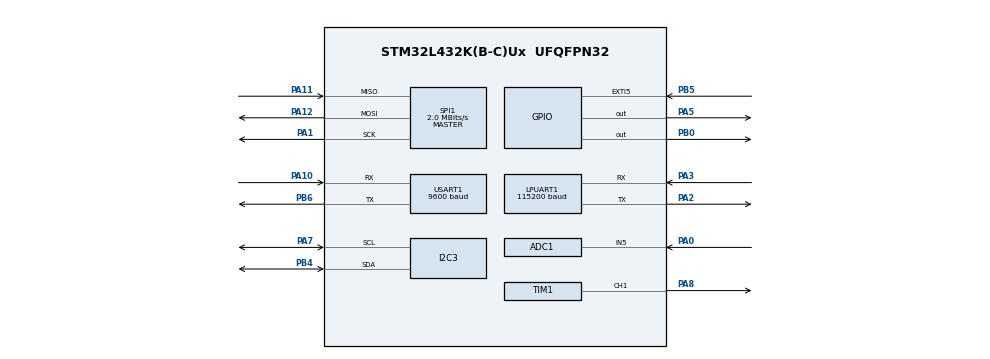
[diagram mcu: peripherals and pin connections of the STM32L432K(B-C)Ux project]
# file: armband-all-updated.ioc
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ADC1.Channel-1\#ChannelRegularConversion=ADC_CHANNEL_5
ADC1.NbrOfConversionFlag=1
ADC1.OffsetNumber-1\#ChannelRegularConversion=ADC_OFFSET_NONE
ADC1.Rank-1\#ChannelRegularConversion=1
ADC1.SamplingTime-1\#ChannelRegularConversion=ADC_SAMPLETIME_2CYCLES_5
ADC1.master=1
LPUART1.BaudRate=115200
LPUART1.WordLength=UART_WORDLENGTH_8B
Mcu.Family=STM32L4
Mcu.Name=STM32L432K(B-C)Ux
Mcu.Package=UFQFPN32
NVIC.EXTI9_5_IRQn=true\:1\:0\:true\:false\:true\:true\:true\:true
NVIC.PriorityGroup=NVIC_PRIORITYGROUP_4
NVIC.TIM6_DAC_IRQn=true\:1\:0\:true\:false\:true\:true\:true\:true
NVIC.TIM7_IRQn=true\:1\:0\:true\:false\:true\:true\:true\:true
NVIC.USART1_IRQn=true\:0\:0\:false\:false\:true\:true\:true\:true
PA0.Signal=ADCx_IN5
PA1.Mode=Full_Duplex_Master
PA1.Signal=SPI1_SCK
PA10.Mode=Asynchronous
PA10.Signal=USART1_RX
PA11.Mode=Full_Duplex_Master
PA11.Signal=SPI1_MISO
PA12.Mode=Full_Duplex_Master
PA12.Signal=SPI1_MOSI
PA2.Mode=Asynchronous
PA2.Signal=LPUART1_TX
PA3.Mode=Asynchronous
PA3.Signal=LPUART1_RX
PA5.Signal=GPIO_Output
PA7.Mode=I2C
PA7.Signal=I2C3_SCL
PA8.Signal=S_TIM1_CH1
PB0.PinState=GPIO_PIN_SET
PB0.Signal=GPIO_Output
PB4\ (NJTRST).Mode=I2C
PB4\ (NJTRST).Signal=I2C3_SDA
PB5.Signal=GPXTI5
PB6.Mode=Asynchronous
PB6.Signal=USART1_TX
ProjectManager.HeapSize=0x200
ProjectManager.StackSize=0x400
ProjectManager.TargetToolchain=STM32CubeIDE
RCC.ADCFreq_Value=32000000
RCC.HSE_VALUE=8000000
RCC.HSI48_VALUE=48000000
RCC.HSI_VALUE=16000000
RCC.LSE_VALUE=32768
RCC.MSI_VALUE=4000000
RCC.PLLSAI1N=16
RCC.USBFreq_Value=32000000
RCC.VCOOutputFreq_Value=32000000
SH.ADCx_IN5.0=ADC1_IN5,IN5-Single-Ended
SH.S_TIM1_CH1.0=TIM1_CH1,PWM Generation1 CH1
SPI1.CalculateBaudRate=2.0 MBits/s
SPI1.DataSize=SPI_DATASIZE_8BIT
SPI1.Direction=SPI_DIRECTION_2LINES
SPI1.Mode=SPI_MODE_MASTER
SPI1.VirtualType=VM_MASTER
TIM1.Channel-PWM\ Generation1\ CH1=TIM_CHANNEL_1
TIM6.Period=499
TIM6.Prescaler=399
TIM7.Period=49999
TIM7.Prescaler=399
USART1.BaudRate=9600
USART1.VirtualMode-Asynchronous=VM_ASYNC
VP_TIM6_VS_ClockSourceINT.Mode=Enable_Timer
VP_TIM7_VS_ClockSourceINT.Mode=Enable_Timer
board=custom

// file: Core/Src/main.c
/* USER CODE BEGIN Header */
/**
  ******************************************************************************
  * @file           : main.c
  * @brief          : Main program body
  ******************************************************************************
  * @attention
  *
  * Copyright (c) 2024 STMicroelectronics.
  * All rights reserved.
  *
  * This software is licensed under terms that can be found in the LICENSE file
  * in the root directory of this software component.
  * If no LICENSE file comes with this software, it is provided AS-IS.
  *
  ******************************************************************************
  */

/**	TODO:
 * 	 - only poll gps because it is a time hog
 * 	 - get LoRa running
 */

/* USER CODE END Header */
#include "main.h"

/* USER CODE BEGIN Includes */
#include "gps.h"
#include "lora_sx1276.h"
#include "IMU.h"
#include "PulseSensor.h"
#include "stdio.h"
#include "speed.h"
#include "step_inc/StepCountingAlgo.h"
#include "vec.h"
#include "math.h"
#include "string.h"
#include "stdlib.h"

/* USER CODE END Includes */

/* USER CODE BEGIN PD */
#define ACC_BUF_LEN 1000
#define SPD_BUF_LEN 1000

#define STEP_FREQ 20	// Hz
#define STEP_PERIOD 50	// ms
/* USER CODE END PD */

ADC_HandleTypeDef hadc1;

I2C_HandleTypeDef hi2c3;

UART_HandleTypeDef hlpuart1;
UART_HandleTypeDef huart1;

SPI_HandleTypeDef hspi1;

TIM_HandleTypeDef htim1;
TIM_HandleTypeDef htim6;
TIM_HandleTypeDef htim7;

/* USER CODE BEGIN PV */

uint8_t LoRaRecieve = 0;
lora_sx1276 lora;
#define PI 3.14159265358979323846
//flags
static char gps_flag = 0;
static char vibrate_flag = 0;
static time_t prog_time = 0;
static GPS_t GPS2;
static  double p2p_dist = 0;
static  double velocity = 0;
static  double x_cord = 0;
static  double y_cord = 0;
static  uint8_t temp[7];
// vars --> most changed to non-static
//static int bpm = 0;
//static float vel;
//static float dist;
//static int steps;
//static double x, y, z;
//static vec_t acc_vec[ACC_BUF_LEN];
//static int acc_vec_idx = 0;
//static vec_t spd_vec[SPD_BUF_LEN];
//static int spd_vec_idx = 0;
static lora_data_t lora_data;

/* USER CODE END PV */

void SystemClock_Config(void);
static void MX_GPIO_Init(void);
static void MX_TIM6_Init(void);
static void MX_USART1_UART_Init(void);
static void MX_ADC1_Init(void);
static void MX_LPUART1_UART_Init(void);
static void MX_SPI1_Init(void);
static void MX_TIM1_Init(void);
static void MX_TIM7_Init(void);
static void MX_I2C3_Init(void);
/* USER CODE BEGIN PFP */
void HAL_TIM_PeriodElapsedCallback(TIM_HandleTypeDef* htim);
void IMUcallback(void);
static inline void vibratorCallback(void);
static inline void loraCallback(void);
//void transmit_data_lora(void);
/* USER CODE END PFP */

/* USER CODE BEGIN 0 */

/* lora initiation helper, executes up to 100 times */
uint8_t lora_infINIT(int init_ctr) {
	if (init_ctr < 100) {
		uint8_t res = lora_init(&lora, &hspi1, GPIOB, GPIO_PIN_0, LORA_BASE_FREQUENCY_US+FREQ_OFFSET);
		if (res != LORA_OK) {
			// Initialization failed
			// retry lol
			return lora_infINIT(init_ctr + 1);
	  	} else {
	  		return LORA_OK;
	  	}
	} else {
		return LORA_ERROR;
	}
}

/* called @ 200Hz, updates step count based on IMU data */
inline void IMUcallback(void) {
	/* archaic step count code from the times of masons own library */
//	vec_t acc_vec, gravity_vec;
//	lin_acc_vec(&hi2c3, &acc_vec.x);
//	grav_vec(&hi2c3, &gravity_vec.x);
//	input_step_data(gravity_vec, acc_vec);

	/* real good super awesome step count code! */
	vec_raw_t acc_vec;
	lin_acc_vec_raw(&hi2c3, &acc_vec.x);
	processSample(prog_time, acc_vec.x, acc_vec.y, acc_vec.z);
	prog_time += STEP_PERIOD;
//	num_steps = getSteps();
//	printf("steps: %i\n\r", num_steps);
}
          //IMU_infINIT(&hi2c3);
void IMU_infINIT(I2C_HandleTypeDef *hi2c) {
	int num_tries = 0;
	while (init_IMU(hi2c)) {
		//HAL_Delay(100);
		++num_tries;
		if (num_tries > 100) return;
	}
}

/* called every 5 seconds, checks lora recieve interrupt flag */
inline void vibratorCallback(void) {
	if (vibrate_flag) { //
		/* turn on vibrator */
		/// possibly add more to create a sequence
	}

}

/* loraCallback(): called after gps is read (5s period) to send relevant data */
inline void loraCallback(void) {

	/* NOTE */
	// possibly send 5 seconds late
	// before next* gps poll in order
	// to send at a precise times
	// --> 5 second delay should not have large effect

	lora_data.speed = (float)velocity;//get_velocity();	// speed from gps file
	lora_data.distance = (float)p2p_dist;//get_distance();	// distance from gps file
	lora_data.heart_rate = get_BPM();	// bpm from pulse sensor file
	lora_data.steps = getSteps();	// step count from steps file
	lora_send_packet(&lora, (uint8_t*)&lora_data, sizeof(lora_data));
	lora_mode_receive_single(&lora);

	/* debug code for use without lora */
	printf("sent to Base Station:\n\r");
	printf("\t\tspeed: \t%f m/s\n\r", lora_data.speed);
	printf("\tdistance: \t%f meters\n\r", lora_data.distance);
	printf("\t\tpulse: \t%i bpm\n\r", lora_data.heart_rate);
	printf("\t\tsteps: \t%i steps\n\n\r", lora_data.steps);
}

//static char gps_flag2 = 0;
/* timer checker */
void HAL_TIM_PeriodElapsedCallback(TIM_HandleTypeDef* htim){
	if (htim == &htim6) {
		IMUcallback();
		updatePulseSensor();
	} else if (htim == &htim7) {
		/* timer controlling GPS and LoRa data */
		gps_flag = 1;
		//gps_flag2 = 1;

		//HAL_NVIC_EnableIRQ(USART1_IRQn);
		//vibratorCallback();
	}
}
uint8_t a[10] = {0};
uint8_t buf[128] = {0};
int j = 0;
int done =0;
int go = 0;
int gps_ctr = 0;
void HAL_UART_RxCpltCallback(UART_HandleTypeDef *huart)
{

 	//UpdateGps_IT();
	//HAL_UART_Receive_IT(&huart1, &rx_data, 1);

	if (go){
		buf[j++] = a[0];
		if (a[0] == '\n'){
			buf[j++] = a[0];

			done = 1;
			go = 0;
			//printf("\n\r");
			if (j < 50) {
				j = 0;
				done = 0;
				for (int i = 0; i < 128; ++i){
					buf[i] = 0;
				}
				printf("bad gps data: retrying\n\r");
				if (gps_ctr < 12){
					HAL_UART_Receive_IT(&huart1, a, 1);
					gps_ctr++;
				}
				else {
					gps_ctr = 0;
					return;
				}

			}
			else{
				j = 0;
				return;
			}
		}

	}
	else if (a[0] == '$' && j == 0) {
		//printf("IN CALLBACK\n\r");
		buf[j++] = a[0];
		go = 1;

	}
	HAL_UART_Receive_IT(&huart1, a, 1);
}

/* USER CODE END 0 */

int main(void)
{

  /* MCU Configuration--------------------------------------------------------*/

  /* Reset of all peripherals, Initializes the Flash interface and the Systick. */
  HAL_Init();

  /* Configure the system clock */
  SystemClock_Config();
  HAL_Delay(1000);

  /* Initialize all configured peripherals */
  MX_GPIO_Init();
  MX_TIM6_Init();
  MX_USART1_UART_Init();
  MX_ADC1_Init();
  MX_LPUART1_UART_Init();
  MX_SPI1_Init();
  MX_TIM1_Init();
  MX_TIM7_Init();
  MX_I2C3_Init();
  /* USER CODE BEGIN 2 */
  printf("before init\r\n");

  initPulseSensor(&hadc1);
  IMU_infINIT(&hi2c3);
  printf("after imu init\r\n");
  uint8_t res = lora_infINIT(0);
  if (res != LORA_OK) {
	  // restart whole system idk
	  printf("bad lora ret\r\n");
  }
  initAlgo();

  printf("after init\r\n");

  //GPS INIT, just calls HAL_UART_Receive_IT(&huart1, &rx_data, 1) to start
    //GPS_Init();

  // start your engines!
  HAL_TIM_PWM_Start(&htim1, TIM_CHANNEL_1);
  HAL_TIM_Base_Start_IT(&htim6);
  HAL_TIM_Base_Start_IT(&htim7);

  /* USER CODE END 2 */

  /* Infinite loop */
  /* USER CODE BEGIN WHILE */
  uint8_t buzz = 0;
  // Wait at least 5 seconds before clearing buzzer
  uint8_t wait = 1;
  lora_enable_interrupt_rx_done(&lora);
  lora_mode_receive_single(&lora);

  while (1)
  {
	  if (gps_flag){

	  }
	  /* GPS Polling */
	  if (gps_flag) {
		  //updateGPS();

		  gps_flag = 0;
		  loraCallback(); // transmit lora data after GPS bottleneck finishes
		  HAL_UART_Receive_IT(&huart1, a, 1);
      if (buzz && !wait) {
		  	TIM1->CCR1 = 0;
        buzz = 0;
        wait = 1;
		  } else if (buzz) {
			  wait = 0;
		  }
    }

    /* poll lora receipt */
    if(LoRaRecieve == 1){
	  		  //Get data
	  //		  	  lora_mode_receive_continuous(&lora);

//	  		  	  lora_receive_packet_blocking(&lora, buffer, sizeof(buffer), 10000, &res);
      if (!lora_is_packet_available(&lora)) {
        LoRaRecieve = 0;
        buzz = 1;
        lora_mode_receive_single(&lora);
      }

	  }

    /* poll buzzer */
	  if (buzz) {
		  TIM1->CCR1 = 65534;
	  }

	  if (done){ //If gps buffer is full, is only possible every 5 seconds
		  done = 0;
		  for (int i = 0; i < 128; ++i){
			  printf("%c", buf[i]);
		  }
		  printf("\n");
		  for (int i = 0; i < 6; ++i){
			  temp[i] = buf[i];
		  }
		  temp[6] = '\0';

		  // If we have string we want, disable interrupt, do calc
		  if (!strncmp((char*)temp, "$GPGGA", 6)){
			  //printf("IN HERE\n\r");
			  char lat[9]; //latitude string
			  char lat_ns; //latitude north south
			  char lon[9]; //same as above bit longitude
			  char lon_ew;
			  char time[2];//only take the seconds

			  for (int i = 11; i < 13; ++i){
				  time[i-11] = buf[i];

			  }
			  for (int i = 18; i < 27; i++){
				  lat[i-18] = buf[i];
				  if (lat[i-18] == ',' || lat[i-18] == 'N'){
					  p2p_dist = 0;
					  velocity = 0;
				  }
			  }
			  lat_ns = buf[28];
			  for (int i = 30; i < 40; i++){
				  lon[i-30] = buf[i];
				  if (lon[i-30] == ',' || lon[i-30] == 'N'){
					  p2p_dist = 0;
					  velocity = 0;

				  }
			  }
			  lon_ew = buf[41];
			  for (int i = 0; i < 128; ++i){
				  buf[i] = 0;
			  }
			  GPS2.time_sec = strtof(time, NULL);
			  int d_time = abs(GPS2.time_sec-GPS2.prev_time_sec);
			  //printf("bruh %f\n\r", (double)strtof(lat, NULL));
			  //printf("bruh2 %f\n\r", (double)strtof(lon, NULL));
			  GPS2.dec_latitude = GPS_nmea_to_dec(strtof(lat, NULL), lat_ns)*(PI/180);
			  GPS2.dec_longitude = GPS_nmea_to_dec(strtof(lon, NULL), lon_ew)*(PI/180);

			  x_cord = (double)(GPS2.dec_longitude - GPS2.dec_longitude_prev)*
					  (cos(((double)GPS2.dec_latitude+(double)GPS2.dec_latitude_prev)/2));

			  y_cord = (double)(GPS2.dec_latitude - GPS2.dec_latitude_prev);

			  //printf("dec1 %f",x_cord);
			  //printf("dec2 %f",y_cord);
			  p2p_dist = sqrt(x_cord*x_cord + y_cord*y_cord)*6371000;
			  velocity = p2p_dist/ d_time;// m/s, timer is set for 5 sec
			  if (d_time == 0){
				  velocity = 0;
			  }
			  printf("p2p: %f\nmeter/sec: %f\n\r", p2p_dist,velocity);
			  //printf("Minute Per Mile: %f\n\r", .08333/(p2p_dist/1609.3));
			  GPS2.dec_latitude_prev = GPS2.dec_latitude;
			  GPS2.dec_longitude_prev = GPS2.dec_longitude;
			  GPS2.prev_time_sec = GPS2.time_sec;
			  //HAL_NVIC_DisableIRQ(USART1_IRQn);

		  }
		  else {
			  HAL_UART_Receive_IT(&huart1, a, 1);
		  }
		  for (int i = 0; i < 128; ++i){
			  buf[i] = 0;
		  }

	  }
    /* USER CODE END WHILE */

  }
}

void SystemClock_Config(void)
{
  RCC_OscInitTypeDef RCC_OscInitStruct = {0};
  RCC_ClkInitTypeDef RCC_ClkInitStruct = {0};

  /** Configure the main internal regulator output voltage
  */
  if (HAL_PWREx_ControlVoltageScaling(PWR_REGULATOR_VOLTAGE_SCALE1) != HAL_OK)
  {
    Error_Handler();
  }

  /** Initializes the RCC Oscillators according to the specified parameters
  * in the RCC_OscInitTypeDef structure.
  */
  RCC_OscInitStruct.OscillatorType = RCC_OSCILLATORTYPE_MSI;
  RCC_OscInitStruct.MSIState = RCC_MSI_ON;
  RCC_OscInitStruct.MSICalibrationValue = 0;
  RCC_OscInitStruct.MSIClockRange = RCC_MSIRANGE_6;
  RCC_OscInitStruct.PLL.PLLState = RCC_PLL_NONE;
  if (HAL_RCC_OscConfig(&RCC_OscInitStruct) != HAL_OK)
  {
    Error_Handler();
  }

  /** Initializes the CPU, AHB and APB buses clocks
  */
  RCC_ClkInitStruct.ClockType = RCC_CLOCKTYPE_HCLK|RCC_CLOCKTYPE_SYSCLK
                              |RCC_CLOCKTYPE_PCLK1|RCC_CLOCKTYPE_PCLK2;
  RCC_ClkInitStruct.SYSCLKSource = RCC_SYSCLKSOURCE_MSI;
  RCC_ClkInitStruct.AHBCLKDivider = RCC_SYSCLK_DIV1;
  RCC_ClkInitStruct.APB1CLKDivider = RCC_HCLK_DIV1;
  RCC_ClkInitStruct.APB2CLKDivider = RCC_HCLK_DIV1;

  if (HAL_RCC_ClockConfig(&RCC_ClkInitStruct, FLASH_LATENCY_0) != HAL_OK)
  {
    Error_Handler();
  }
}

static void MX_ADC1_Init(void)
{

  ADC_ChannelConfTypeDef sConfig = {0};

  /** Common config
  */
  hadc1.Instance = ADC1;
  hadc1.Init.ClockPrescaler = ADC_CLOCK_ASYNC_DIV1;
  hadc1.Init.Resolution = ADC_RESOLUTION_12B;
  hadc1.Init.DataAlign = ADC_DATAALIGN_RIGHT;
  hadc1.Init.ScanConvMode = ADC_SCAN_DISABLE;
  hadc1.Init.EOCSelection = ADC_EOC_SINGLE_CONV;
  hadc1.Init.LowPowerAutoWait = DISABLE;
  hadc1.Init.ContinuousConvMode = DISABLE;
  hadc1.Init.NbrOfConversion = 1;
  hadc1.Init.DiscontinuousConvMode = DISABLE;
  hadc1.Init.ExternalTrigConv = ADC_SOFTWARE_START;
  hadc1.Init.ExternalTrigConvEdge = ADC_EXTERNALTRIGCONVEDGE_NONE;
  hadc1.Init.DMAContinuousRequests = DISABLE;
  hadc1.Init.Overrun = ADC_OVR_DATA_PRESERVED;
  hadc1.Init.OversamplingMode = DISABLE;
  if (HAL_ADC_Init(&hadc1) != HAL_OK)
  {
    Error_Handler();
  }

  /** Configure Regular Channel
  */
  sConfig.Channel = ADC_CHANNEL_5;
  sConfig.Rank = ADC_REGULAR_RANK_1;
  sConfig.SamplingTime = ADC_SAMPLETIME_2CYCLES_5;
  sConfig.SingleDiff = ADC_SINGLE_ENDED;
  sConfig.OffsetNumber = ADC_OFFSET_NONE;
  sConfig.Offset = 0;
  if (HAL_ADC_ConfigChannel(&hadc1, &sConfig) != HAL_OK)
  {
    Error_Handler();
  }

}

static void MX_I2C3_Init(void)
{

  hi2c3.Instance = I2C3;
  hi2c3.Init.Timing = 0x00000E14;
  hi2c3.Init.OwnAddress1 = 0;
  hi2c3.Init.AddressingMode = I2C_ADDRESSINGMODE_7BIT;
  hi2c3.Init.DualAddressMode = I2C_DUALADDRESS_DISABLE;
  hi2c3.Init.OwnAddress2 = 0;
  hi2c3.Init.OwnAddress2Masks = I2C_OA2_NOMASK;
  hi2c3.Init.GeneralCallMode = I2C_GENERALCALL_DISABLE;
  hi2c3.Init.NoStretchMode = I2C_NOSTRETCH_DISABLE;
  if (HAL_I2C_Init(&hi2c3) != HAL_OK)
  {
    Error_Handler();
  }

  /** Configure Analogue filter
  */
  if (HAL_I2CEx_ConfigAnalogFilter(&hi2c3, I2C_ANALOGFILTER_ENABLE) != HAL_OK)
  {
    Error_Handler();
  }

  /** Configure Digital filter
  */
  if (HAL_I2CEx_ConfigDigitalFilter(&hi2c3, 0) != HAL_OK)
  {
    Error_Handler();
  }

}

static void MX_LPUART1_UART_Init(void)
{

  hlpuart1.Instance = LPUART1;
  hlpuart1.Init.BaudRate = 115200;
  hlpuart1.Init.WordLength = UART_WORDLENGTH_8B;
  hlpuart1.Init.StopBits = UART_STOPBITS_1;
  hlpuart1.Init.Parity = UART_PARITY_NONE;
  hlpuart1.Init.Mode = UART_MODE_TX_RX;
  hlpuart1.Init.HwFlowCtl = UART_HWCONTROL_NONE;
  hlpuart1.Init.OneBitSampling = UART_ONE_BIT_SAMPLE_DISABLE;
  hlpuart1.AdvancedInit.AdvFeatureInit = UART_ADVFEATURE_NO_INIT;
  if (HAL_UART_Init(&hlpuart1) != HAL_OK)
  {
    Error_Handler();
  }

}

static void MX_USART1_UART_Init(void)
{

  huart1.Instance = USART1;
  huart1.Init.BaudRate = 9600;
  huart1.Init.WordLength = UART_WORDLENGTH_8B;
  huart1.Init.StopBits = UART_STOPBITS_1;
  huart1.Init.Parity = UART_PARITY_NONE;
  huart1.Init.Mode = UART_MODE_TX_RX;
  huart1.Init.HwFlowCtl = UART_HWCONTROL_NONE;
  huart1.Init.OverSampling = UART_OVERSAMPLING_16;
  huart1.Init.OneBitSampling = UART_ONE_BIT_SAMPLE_DISABLE;
  huart1.AdvancedInit.AdvFeatureInit = UART_ADVFEATURE_NO_INIT;
  if (HAL_UART_Init(&huart1) != HAL_OK)
  {
    Error_Handler();
  }

}

static void MX_SPI1_Init(void)
{

  /* SPI1 parameter configuration*/
  hspi1.Instance = SPI1;
  hspi1.Init.Mode = SPI_MODE_MASTER;
  hspi1.Init.Direction = SPI_DIRECTION_2LINES;
  hspi1.Init.DataSize = SPI_DATASIZE_8BIT;
  hspi1.Init.CLKPolarity = SPI_POLARITY_LOW;
  hspi1.Init.CLKPhase = SPI_PHASE_1EDGE;
  hspi1.Init.NSS = SPI_NSS_SOFT;
  hspi1.Init.BaudRatePrescaler = SPI_BAUDRATEPRESCALER_2;
  hspi1.Init.FirstBit = SPI_FIRSTBIT_MSB;
  hspi1.Init.TIMode = SPI_TIMODE_DISABLE;
  hspi1.Init.CRCCalculation = SPI_CRCCALCULATION_DISABLE;
  hspi1.Init.CRCPolynomial = 7;
  hspi1.Init.CRCLength = SPI_CRC_LENGTH_DATASIZE;
  hspi1.Init.NSSPMode = SPI_NSS_PULSE_ENABLE;
  if (HAL_SPI_Init(&hspi1) != HAL_OK)
  {
    Error_Handler();
  }

}

static void MX_TIM1_Init(void)
{

  TIM_MasterConfigTypeDef sMasterConfig = {0};
  TIM_OC_InitTypeDef sConfigOC = {0};
  TIM_BreakDeadTimeConfigTypeDef sBreakDeadTimeConfig = {0};

  htim1.Instance = TIM1;
  htim1.Init.Prescaler = 0;
  htim1.Init.CounterMode = TIM_COUNTERMODE_UP;
  htim1.Init.Period = 65535;
  htim1.Init.ClockDivision = TIM_CLOCKDIVISION_DIV1;
  htim1.Init.RepetitionCounter = 0;
  htim1.Init.AutoReloadPreload = TIM_AUTORELOAD_PRELOAD_DISABLE;
  if (HAL_TIM_PWM_Init(&htim1) != HAL_OK)
  {
    Error_Handler();
  }
  sMasterConfig.MasterOutputTrigger = TIM_TRGO_RESET;
  sMasterConfig.MasterOutputTrigger2 = TIM_TRGO2_RESET;
  sMasterConfig.MasterSlaveMode = TIM_MASTERSLAVEMODE_DISABLE;
  if (HAL_TIMEx_MasterConfigSynchronization(&htim1, &sMasterConfig) != HAL_OK)
  {
    Error_Handler();
  }
  sConfigOC.OCMode = TIM_OCMODE_PWM1;
  sConfigOC.Pulse = 0;
  sConfigOC.OCPolarity = TIM_OCPOLARITY_HIGH;
  sConfigOC.OCNPolarity = TIM_OCNPOLARITY_HIGH;
  sConfigOC.OCFastMode = TIM_OCFAST_DISABLE;
  sConfigOC.OCIdleState = TIM_OCIDLESTATE_RESET;
  sConfigOC.OCNIdleState = TIM_OCNIDLESTATE_RESET;
  if (HAL_TIM_PWM_ConfigChannel(&htim1, &sConfigOC, TIM_CHANNEL_1) != HAL_OK)
  {
    Error_Handler();
  }
  sBreakDeadTimeConfig.OffStateRunMode = TIM_OSSR_DISABLE;
  sBreakDeadTimeConfig.OffStateIDLEMode = TIM_OSSI_DISABLE;
  sBreakDeadTimeConfig.LockLevel = TIM_LOCKLEVEL_OFF;
  sBreakDeadTimeConfig.DeadTime = 0;
  sBreakDeadTimeConfig.BreakState = TIM_BREAK_DISABLE;
  sBreakDeadTimeConfig.BreakPolarity = TIM_BREAKPOLARITY_HIGH;
  sBreakDeadTimeConfig.BreakFilter = 0;
  sBreakDeadTimeConfig.Break2State = TIM_BREAK2_DISABLE;
  sBreakDeadTimeConfig.Break2Polarity = TIM_BREAK2POLARITY_HIGH;
  sBreakDeadTimeConfig.Break2Filter = 0;
  sBreakDeadTimeConfig.AutomaticOutput = TIM_AUTOMATICOUTPUT_DISABLE;
  if (HAL_TIMEx_ConfigBreakDeadTime(&htim1, &sBreakDeadTimeConfig) != HAL_OK)
  {
    Error_Handler();
  }
  HAL_TIM_MspPostInit(&htim1);

}

static void MX_TIM6_Init(void)
{

  TIM_MasterConfigTypeDef sMasterConfig = {0};

  htim6.Instance = TIM6;
  htim6.Init.Prescaler = 399;
  htim6.Init.CounterMode = TIM_COUNTERMODE_UP;
  htim6.Init.Period = 499;
  htim6.Init.AutoReloadPreload = TIM_AUTORELOAD_PRELOAD_DISABLE;
  if (HAL_TIM_Base_Init(&htim6) != HAL_OK)
  {
    Error_Handler();
  }
  sMasterConfig.MasterOutputTrigger = TIM_TRGO_RESET;
  sMasterConfig.MasterSlaveMode = TIM_MASTERSLAVEMODE_DISABLE;
  if (HAL_TIMEx_MasterConfigSynchronization(&htim6, &sMasterConfig) != HAL_OK)
  {
    Error_Handler();
  }

}

static void MX_TIM7_Init(void)
{

  TIM_MasterConfigTypeDef sMasterConfig = {0};

  htim7.Instance = TIM7;
  htim7.Init.Prescaler = 399;
  htim7.Init.CounterMode = TIM_COUNTERMODE_UP;
  htim7.Init.Period = 49999;
  htim7.Init.AutoReloadPreload = TIM_AUTORELOAD_PRELOAD_DISABLE;
  if (HAL_TIM_Base_Init(&htim7) != HAL_OK)
  {
    Error_Handler();
  }
  sMasterConfig.MasterOutputTrigger = TIM_TRGO_RESET;
  sMasterConfig.MasterSlaveMode = TIM_MASTERSLAVEMODE_DISABLE;
  if (HAL_TIMEx_MasterConfigSynchronization(&htim7, &sMasterConfig) != HAL_OK)
  {
    Error_Handler();
  }

}

static void MX_GPIO_Init(void)
{
  GPIO_InitTypeDef GPIO_InitStruct = {0};

  /* GPIO Ports Clock Enable */
  __HAL_RCC_GPIOA_CLK_ENABLE();
  __HAL_RCC_GPIOB_CLK_ENABLE();

  /*Configure GPIO pin Output Level */
  HAL_GPIO_WritePin(GPIOA, GPIO_PIN_5, GPIO_PIN_RESET);

  /*Configure GPIO pin Output Level */
  HAL_GPIO_WritePin(GPIOB, GPIO_PIN_0, GPIO_PIN_SET);

  /*Configure GPIO pin : PA5 */
  GPIO_InitStruct.Pin = GPIO_PIN_5;
  GPIO_InitStruct.Mode = GPIO_MODE_OUTPUT_PP;
  GPIO_InitStruct.Pull = GPIO_NOPULL;
  GPIO_InitStruct.Speed = GPIO_SPEED_FREQ_LOW;
  HAL_GPIO_Init(GPIOA, &GPIO_InitStruct);

  /*Configure GPIO pin : PB0 */
  GPIO_InitStruct.Pin = GPIO_PIN_0;
  GPIO_InitStruct.Mode = GPIO_MODE_OUTPUT_PP;
  GPIO_InitStruct.Pull = GPIO_NOPULL;
  GPIO_InitStruct.Speed = GPIO_SPEED_FREQ_LOW;
  HAL_GPIO_Init(GPIOB, &GPIO_InitStruct);

  /*Configure GPIO pin : PB5 */
  GPIO_InitStruct.Pin = GPIO_PIN_5;
  GPIO_InitStruct.Mode = GPIO_MODE_IT_RISING;
  GPIO_InitStruct.Pull = GPIO_NOPULL;
  HAL_GPIO_Init(GPIOB, &GPIO_InitStruct);

  /* EXTI interrupt init*/
  HAL_NVIC_SetPriority(EXTI9_5_IRQn, 1, 0);
  HAL_NVIC_EnableIRQ(EXTI9_5_IRQn);

}

/* USER CODE BEGIN 4 */
#ifdef __GNUC__
#define PUTCHAR_PROTOTYPE int __io_putchar(int ch)
#else
  #define PUTCHAR_PROTOTYPE int fputc(int ch, FILE *f)
#endif /* __GNUC__ */
PUTCHAR_PROTOTYPE
{
  HAL_UART_Transmit(&hlpuart1, (uint8_t *)&ch, 1, 0xFFFF);
  return ch;
}
/* USER CODE END 4 */

void Error_Handler(void)
{
  __disable_irq();
  while (1)
  {
  }
}
